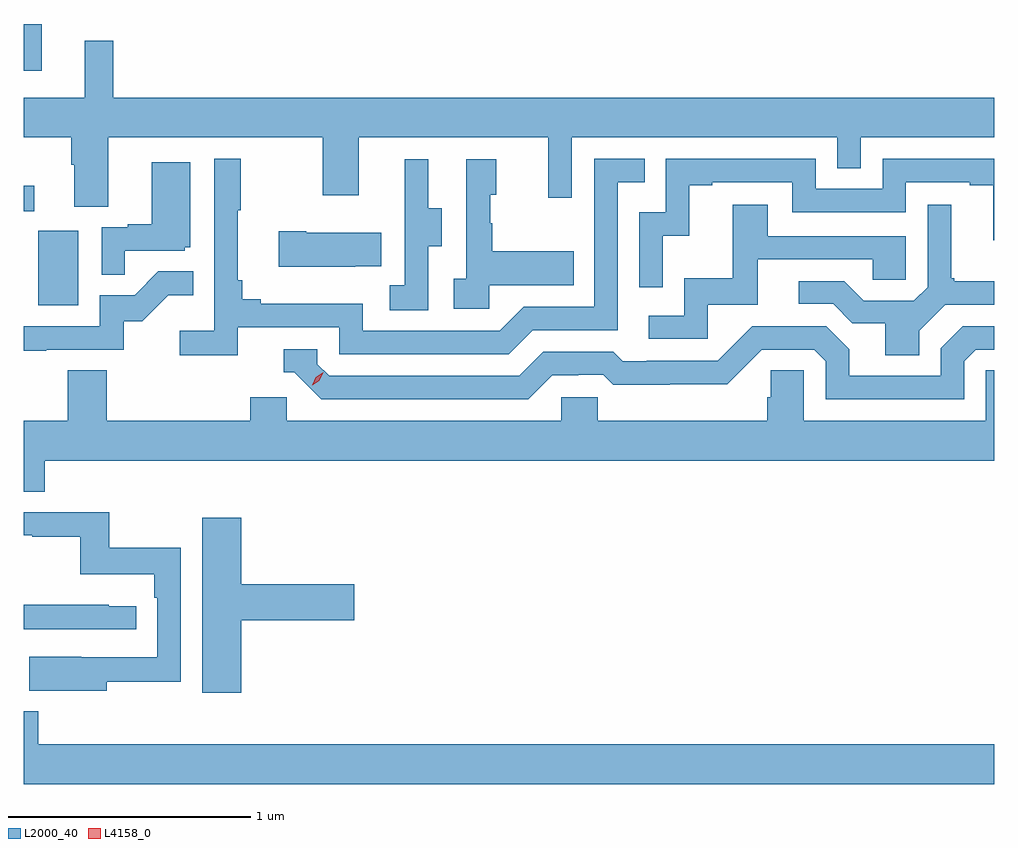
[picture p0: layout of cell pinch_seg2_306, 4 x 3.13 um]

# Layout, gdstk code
import gdstk
lib = gdstk.Library(unit=1e-6, precision=1e-09)
def R(c, l, rs):  # rectangles x0, y0, x1, y1
    for r in rs: c.add(gdstk.rectangle(r[:2], r[2:], *l))
def P(c, l, *ps):  # polygons
    for p in ps: c.add(gdstk.Polygon(p, *l))
L2000_40 = (2000, 40)
L4158_0 = (4158, 0)

pinch_seg2_306 = lib.new_cell('pinch_seg2_306')
R(pinch_seg2_306, L2000_40, [(901.694,634.956,901.858,635.263), (901.633,635.343,901.678,635.449), (901.633,635.922,901.708,636.115)])
P(pinch_seg2_306, L2000_40, [(901.981,635.648),(902.866,635.648),(902.866,635.409),(903.013,635.409),(903.013,635.648),(903.794,635.648),(903.794,635.4),(903.891,635.4),(903.891,635.648),(904.986,635.648),(904.986,635.521),(905.082,635.521),(905.082,635.648),(905.633,635.648),(905.633,635.812),(902.003,635.812),(902.003,636.046),(901.886,636.046),(901.886,635.812),(901.633,635.812),(901.633,635.648),(901.829,635.648),(901.829,635.536),(901.841,635.536),(901.841,635.362),(901.981,635.362)],
  [(902.516,634.866),(902.934,634.866),(902.934,634.755),(903.631,634.755),(903.73,634.854),(904.08,634.854),(904.08,635.463),(904.193,635.463),(904.193,635.559),(903.984,635.559),(903.984,634.95),(903.693,634.95),(903.594,634.851),(903.03,634.851),(903.03,634.963),(902.611,634.963),(902.611,634.982),(902.534,634.982),(902.534,635.059),(902.515,635.059),(902.515,635.347),(902.527,635.347),(902.527,635.56),(902.418,635.56),(902.418,634.852),(902.277,634.852),(902.277,634.75),(902.516,634.75)],
  [(904.266,635.243),(904.376,635.243),(904.376,635.451),(904.471,635.451),(904.471,635.463),(904.8,635.463),(904.8,635.34),(905.268,635.34),(905.268,635.463),(905.531,635.463),(905.531,635.451),(905.627,635.451),(905.627,635.225),(905.633,635.225),(905.633,635.559),(905.172,635.559),(905.172,635.436),(904.896,635.436),(904.896,635.559),(904.278,635.559),(904.278,635.34),(904.17,635.34),(904.17,635.031),(904.266,635.031)],
  [(903.552,635.039),(903.899,635.039),(903.899,635.179),(903.565,635.179),(903.565,635.294),(903.555,635.294),(903.555,635.412),(903.58,635.412),(903.58,635.557),(903.456,635.557),(903.456,635.066),(903.405,635.066),(903.405,634.941),(903.552,634.941)],
  [(903.3,635.2),(903.355,635.2),(903.355,635.355),(903.301,635.355),(903.301,635.557),(903.203,635.557),(903.203,635.343),(903.204,635.343),(903.204,635.039),(903.141,635.039),(903.141,634.936),(903.3,634.936)],
  [(902.051,635.181),(902.298,635.181),(902.298,635.196),(902.32,635.196),(902.32,635.545),(902.162,635.545),(902.162,635.29),(902.063,635.29),(902.063,635.277),(901.956,635.277),(901.956,635.083),(902.051,635.083)],
  [(905.323,634.852),(905.43,634.959),(905.633,634.959),(905.633,635.056),(905.467,635.056),(905.467,635.068),(905.455,635.068),(905.455,635.371),(905.358,635.371),(905.358,635.031),(905.301,634.974),(905.095,634.974),(905.014,635.055),(904.827,635.055),(904.827,634.962),(904.968,634.962),(905.048,634.882),(905.183,634.882),(905.183,634.75),(905.323,634.75)],
  [(904.452,634.959),(904.657,634.959),(904.657,635.145),(905.131,635.145),(905.131,635.061),(905.268,635.061),(905.268,635.241),(904.699,635.241),(904.699,635.371),(904.555,635.371),(904.555,635.068),(904.356,635.068),(904.356,634.914),(904.209,634.914),(904.209,634.818),(904.452,634.818)],
  [(902.999,635.117),(903.107,635.117),(903.107,635.254),(902.797,635.254),(902.797,635.262),(902.685,635.262),(902.685,635.114),(902.999,635.114)],
  [(901.727,634.773),(902.046,634.773),(902.046,634.89),(902.122,634.89),(902.229,634.997),(902.333,634.997),(902.333,635.096),(902.189,635.096),(902.091,634.998),(901.947,634.998),(901.947,634.869),(901.633,634.869),(901.633,634.768),(901.727,634.768)],
  [(903.811,634.668),(903.918,634.668),(903.918,634.671),(904.021,634.671),(904.063,634.629),(904.296,634.629),(904.296,634.631),(904.532,634.631),(904.674,634.773),(904.89,634.773),(904.938,634.725),(904.938,634.569),(905.508,634.569),(905.508,634.725),(905.556,634.773),(905.633,634.773),(905.633,634.869),(905.502,634.869),(905.412,634.779),(905.412,634.665),(905.035,634.665),(905.035,634.775),(904.941,634.869),(904.635,634.869),(904.494,634.728),(904.201,634.728),(904.201,634.725),(904.102,634.725),(904.063,634.764),(903.774,634.764),(903.675,634.665),(902.892,634.665),(902.844,634.713),(902.844,634.776),(902.705,634.776),(902.705,634.68),(902.748,634.68),(902.859,634.569),(903.712,634.569)],
  [(901.721,634.316),(905.633,634.316),(905.633,634.688),(905.598,634.688),(905.598,634.48),(904.848,634.48),(904.848,634.688),(904.711,634.688),(904.711,634.578),(904.697,634.578),(904.697,634.48),(903.999,634.48),(903.999,634.578),(903.849,634.578),(903.849,634.48),(902.718,634.48),(902.718,634.578),(902.567,634.578),(902.567,634.48),(901.976,634.48),(901.976,634.688),(901.816,634.688),(901.816,634.48),(901.633,634.48),(901.633,634.189),(901.721,634.189)],
  [(901.975,633.406),(902.28,633.406),(902.28,633.958),(901.987,633.958),(901.987,634.104),(901.633,634.104),(901.633,634.008),(901.669,634.008),(901.669,634.003),(901.866,634.003),(901.866,633.848),(902.171,633.848),(902.171,633.752),(902.184,633.752),(902.184,633.507),(901.871,633.507),(901.871,633.508),(901.657,633.508),(901.657,633.368),(901.975,633.368)],
  [(902.53,633.659),(902.995,633.659),(902.995,633.806),(902.53,633.806),(902.53,634.081),(902.369,634.081),(902.369,633.36),(902.53,633.36)],
  [(902.098,633.717),(901.985,633.717),(901.985,633.722),(901.633,633.722),(901.633,633.621),(902.098,633.621)],
  [(905.633,633.148),(901.694,633.148),(901.694,633.283),(901.633,633.283),(901.633,632.984),(905.633,632.984)])
P(pinch_seg2_306, L4158_0, [(902.822,634.626),(902.822,634.626),(902.837,634.659),(902.867,634.68),(902.867,634.68),(902.867,634.679),(902.852,634.646),(902.822,634.626)])

lib.write_gds('pinch_seg2_306.gds')
